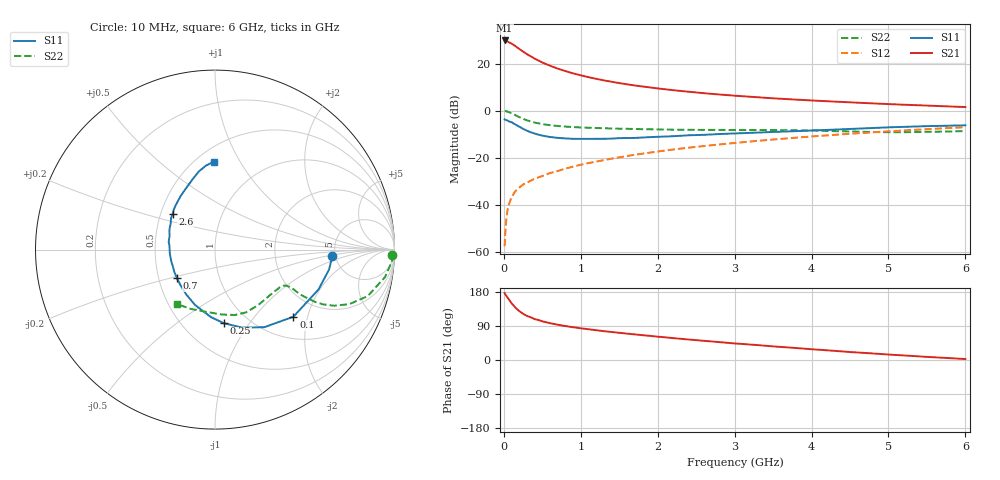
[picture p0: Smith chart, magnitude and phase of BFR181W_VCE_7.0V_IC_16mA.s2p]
! Infineon Technologies  Discrete & RF Semiconductors
! BFR181W
! VCE =  7.0 V,  IC =  16 mA
! Common Emitter S-Parameters:  Jan 2017
# GHz  S  MA  R  50
!  f  S11  S21  S12  S22
! GHz  MAG  ANG  MAG  ANG  MAG  ANG  MAG  ANG
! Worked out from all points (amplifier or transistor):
!   77 points, 10 MHz to 6 GHz, reference 50 ohm
!   highest |S21| = 30.0 dB at 10 MHz (marker M1)
!   |S21| within 3 dB of that: start of sweep to 175 MHz
!   unconditionally stable (mu >= 1): 843.2 MHz to 2.742 GHz
!   at 130 MHz: K = 0.35, MSG = 31.6 dB, |S12| = -35.2 dB
!   at 2.2 GHz: K = 1.04, MAG = 11.5 dB, |S12| = -16.5 dB
!   at 6 GHz: K = 0.84, MSG = 4.3 dB, |S12| = -7.0 dB
!   S11 on the Smith chart (normalised r, x): 10 MHz: 4.72, -0.58; 100 MHz: 1.46, -1.64; 250 MHz: 0.77, -0.77; 700 MHz: 0.62, -0.21; 2.6 GHz: 0.58, +0.25; 6 GHz: 0.61, +0.79
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0.01  0.6548 -3.1  31.63 176.6  0.0013 98.7  0.9869 -1.6
0.02  0.6455 -9.8  31.29 172.8  0.0027 99.8  0.9892 -3.5
0.05  0.6181 -21.1  30.01 164.0  0.008 79.3  0.9596 -9.2
0.1  0.5749 -40.6  27.17 149.7  0.0142 73.3  0.8895 -16.9
0.15  0.5122 -57.6  24 138.3  0.0193 69.7  0.8079 -22.1
0.2  0.4597 -71.0  20.89 129.1  0.0229 66.7  0.7344 -25.2
0.25  0.4133 -83.1  18.34 122.0  0.0268 64.5  0.6747 -26.9
0.3  0.3766 -93.5  16.14 116.4  0.0293 64.5  0.6265 -27.6
0.4  0.3279 -109.8  12.97 108.1  0.0355 64.6  0.5615 -27.8
0.5  0.2962 -123.0  10.73 102.1  0.0407 65.7  0.5205 -27.5
0.6  0.2765 -133.8  9.143 97.2  0.047 66.3  0.4936 -26.9
0.7  0.265 -143.5  7.94 93.2  0.052 68.2  0.4743 -26.5
0.9  0.2525 -159.0  6.287 86.5  0.0645 69.6  0.4502 -26.7
1.1  0.2518 -171.2  5.221 81.2  0.0768 70.5  0.4359 -27.4
1.3  0.2531 178.3  4.456 76.1  0.0888 70.4  0.4254 -28.8
1.5  0.2615 170.7  3.904 71.8  0.1019 70.6  0.4159 -30.7
2.1  0.283 151.9  2.876 59.8  0.1424 69.3  0.3984 -39.2
2.6  0.3074 140.3  2.375 50.6  0.1771 67.3  0.3918 -48.1
3.1  0.3336 130.0  2.049 42.3  0.2136 64.3  0.3891 -57.0
4.1  0.3854 113.3  1.631 27.0  0.2914 57.3  0.3764 -75.2
5.1  0.4493 100.6  1.369 13.2  0.3728 48.8  0.3498 -100.5
6  0.4907 90.4  1.202 2.5  0.4472 40.2  0.3708 -125.3
